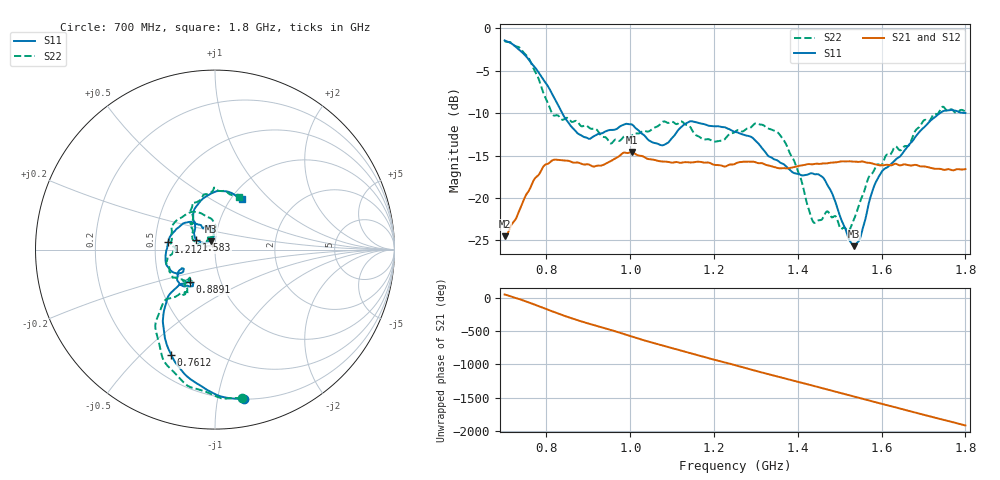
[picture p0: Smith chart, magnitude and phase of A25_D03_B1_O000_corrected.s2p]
! Created with skrf 1.9.0 (http://scikit-rf.org).
# Hz S RI R 50.0
!freq ReS11 ImS11 ReS21 ImS21 ReS12 ImS12 ReS22 ImS22
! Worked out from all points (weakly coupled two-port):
!   1601 points, 700 MHz to 1.8 GHz, reference 50 ohm
!   highest |S21| = -14.58 dB at 1.004 GHz (marker M1); lowest = -24.5 dB at 701.4 MHz (marker M2)
!   lowest |S11| = -25.7 dB at 1.534 GHz (marker M3), VSWR 1.11, Z = 47.5 + j4.45 ohm
!   |S11| at or under -10 dB: 837.8 MHz to 1.739 GHz (901 MHz wide, 69.9 % of centre)
!   |S22| runs from -23.9 to -1.5 dB; largest |S21 - S12| = 0.0035
!   S11 on the Smith chart (normalised r, x): 700 MHz: 0.20, -1.19; 761.2 MHz: 0.31, -0.62; 889.1 MHz: 0.71, -0.27; 1.212 GHz: 0.58, +0.05; 1.583 GHz: 0.80, +0.09; 1.8 GHz: 1.12, +0.70
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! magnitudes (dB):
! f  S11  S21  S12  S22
! 700 MHz  -1.4  -24.5  -24.3  -1.5
! 701.4 MHz  -1.4  -24.5  -24.1  -1.5
! 761.2 MHz  -3.9  -18.8  -18.7  -3.8
! 814.8 MHz  -7.8  -15.5  -15.6  -10.2
! 883.6 MHz  -12.6  -16.0  -15.9  -11.5
! 889.1 MHz  -12.8  -16.0  -16.0  -11.5
! 953 MHz  -12.0  -15.6  -15.6  -13.6
! 1.004 GHz  -11.3  -14.6  -14.7  -12.6
! 1.067 GHz  -13.6  -15.6  -15.6  -11.5
! 1.142 GHz  -11.0  -15.8  -15.8  -11.6
! 1.212 GHz  -11.5  -16.1  -16.1  -13.3
! 1.25 GHz  -12.2  -16.0  -15.9  -12.2
! 1.355 GHz  -15.7  -16.5  -16.4  -12.4
! 1.394 GHz  -17.1  -16.3  -16.3  -16.0
! 1.434 GHz  -17.1  -16.0  -16.0  -22.5
! 1.466 GHz  -18.0  -15.9  -15.9  -21.8
! 1.519 GHz  -24.5  -15.7  -15.7  -23.8
! 1.534 GHz  -25.7  -15.7  -15.7  -22.5
! 1.583 GHz  -18.5  -16.0  -16.0  -16.6
! 1.617 GHz  -16.2  -16.1  -16.1  -14.9
! 1.74 GHz  -9.9  -16.6  -16.6  -9.6
! 1.8 GHz  -10.0  -16.6  -16.6  -9.8
